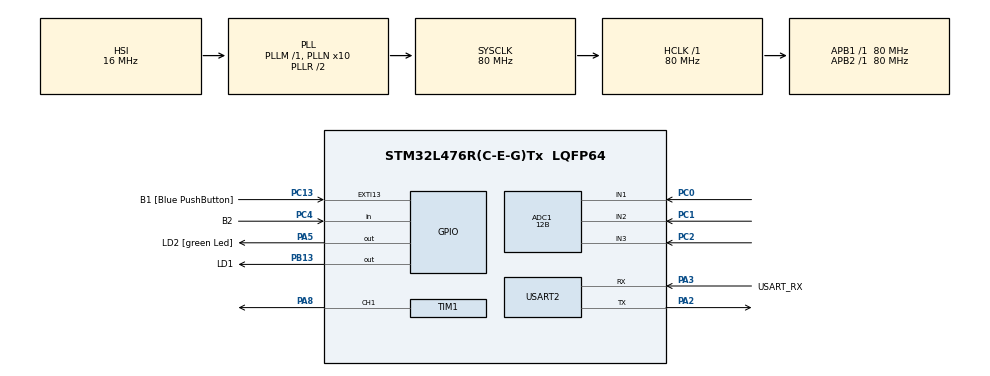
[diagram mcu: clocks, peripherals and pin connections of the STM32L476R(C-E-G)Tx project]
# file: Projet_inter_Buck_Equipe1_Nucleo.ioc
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ADC1.Channel-1\#ChannelRegularConversion=ADC_CHANNEL_1
ADC1.Channel-2\#ChannelRegularConversion=ADC_CHANNEL_2
ADC1.Channel-3\#ChannelRegularConversion=ADC_CHANNEL_3
ADC1.ClockPrescaler=ADC_CLOCK_ASYNC_DIV8
ADC1.ContinuousConvMode=DISABLE
ADC1.DMAContinuousRequests=ENABLE
ADC1.EOCSelection=ADC_EOC_SEQ_CONV
ADC1.ExternalTrigConv=ADC_EXTERNALTRIG_T2_TRGO
ADC1.NbrOfConversion=3
ADC1.NbrOfConversionFlag=1
ADC1.OffsetNumber-1\#ChannelRegularConversion=ADC_OFFSET_NONE
ADC1.OffsetNumber-2\#ChannelRegularConversion=ADC_OFFSET_NONE
ADC1.OffsetNumber-3\#ChannelRegularConversion=ADC_OFFSET_NONE
ADC1.Overrun=ADC_OVR_DATA_OVERWRITTEN
ADC1.Rank-1\#ChannelRegularConversion=1
ADC1.Rank-2\#ChannelRegularConversion=2
ADC1.Rank-3\#ChannelRegularConversion=3
ADC1.Resolution=ADC_RESOLUTION_12B
ADC1.SamplingTime-1\#ChannelRegularConversion=ADC_SAMPLETIME_92CYCLES_5
ADC1.SamplingTime-2\#ChannelRegularConversion=ADC_SAMPLETIME_92CYCLES_5
ADC1.SamplingTime-3\#ChannelRegularConversion=ADC_SAMPLETIME_92CYCLES_5
ADC1.master=1
Dma.ADC1.0.Direction=DMA_PERIPH_TO_MEMORY
Dma.ADC1.0.Instance=DMA1_Channel1
Dma.ADC1.0.MemDataAlignment=DMA_MDATAALIGN_WORD
Dma.ADC1.0.MemInc=DMA_MINC_ENABLE
Dma.ADC1.0.Mode=DMA_CIRCULAR
Dma.ADC1.0.PeriphDataAlignment=DMA_PDATAALIGN_WORD
Dma.ADC1.0.PeriphInc=DMA_PINC_DISABLE
Dma.ADC1.0.Priority=DMA_PRIORITY_LOW
Dma.Request0=ADC1
Mcu.Family=STM32L4
Mcu.Name=STM32L476R(C-E-G)Tx
Mcu.Package=LQFP64
NVIC.DMA1_Channel1_IRQn=true\:0\:0\:false\:false\:true\:false\:true
NVIC.PriorityGroup=NVIC_PRIORITYGROUP_4
NVIC.TIM2_IRQn=true\:2\:0\:true\:false\:true\:true\:true
PA13\ (JTMS-SWDIO).GPIO_Label=TMS
PA13\ (JTMS-SWDIO).Mode=Serial_Wire
PA13\ (JTMS-SWDIO).Signal=SYS_JTMS-SWDIO
PA14\ (JTCK-SWCLK).GPIO_Label=TCK
PA14\ (JTCK-SWCLK).Mode=Serial_Wire
PA14\ (JTCK-SWCLK).Signal=SYS_JTCK-SWCLK
PA2.Mode=Asynchronous
PA2.Signal=USART2_TX
PA3.GPIO_Label=USART_RX
PA3.GPIO_Mode=GPIO_MODE_AF_PP
PA3.GPIO_PuPd=GPIO_NOPULL
PA3.GPIO_Speed=GPIO_SPEED_FREQ_VERY_HIGH
PA3.Mode=Asynchronous
PA3.Signal=USART2_RX
PA5.GPIO_Label=LD2 [green Led]
PA5.GPIO_ModeDefaultOutputPP=GPIO_MODE_OUTPUT_PP
PA5.GPIO_PuPd=GPIO_NOPULL
PA5.GPIO_Speed=GPIO_SPEED_FREQ_LOW
PA5.Signal=GPIO_Output
PA8.Signal=S_TIM1_CH1
PB13.GPIO_Label=LD1
PB13.Signal=GPIO_Output
PB3\ (JTDO-TRACESWO).GPIO_Label=SWO
PB3\ (JTDO-TRACESWO).Signal=SYS_JTDO-SWO
PC0.Signal=ADCx_IN1
PC1.Signal=ADCx_IN2
PC13.GPIO_Label=B1 [Blue PushButton]
PC13.GPIO_ModeDefaultEXTI=GPIO_MODE_IT_FALLING
PC13.GPIO_PuPd=GPIO_NOPULL
PC13.Signal=GPXTI13
PC14-OSC32_IN\ (PC14).Signal=RCC_OSC32_IN
PC15-OSC32_OUT\ (PC15).Signal=RCC_OSC32_OUT
PC2.Signal=ADCx_IN3
PC4.GPIO_Label=B2
PC4.GPIO_PuPd=GPIO_PULLUP
PC4.Signal=GPIO_Input
PH0-OSC_IN\ (PH0).Mode=HSE-External-Oscillator
PH0-OSC_IN\ (PH0).Signal=RCC_OSC_IN
PH1-OSC_OUT\ (PH1).Mode=HSE-External-Oscillator
PH1-OSC_OUT\ (PH1).Signal=RCC_OSC_OUT
ProjectManager.HeapSize=0x200
ProjectManager.StackSize=0x400
ProjectManager.TargetToolchain=STM32CubeIDE
RCC.ADCFreq_Value=64000000
RCC.AHBFreq_Value=80000000
RCC.APB1Freq_Value=80000000
RCC.APB1TimFreq_Value=80000000
RCC.APB2Freq_Value=80000000
RCC.APB2TimFreq_Value=80000000
RCC.CortexFreq_Value=80000000
RCC.HCLKFreq_Value=80000000
RCC.HSE_VALUE=8000000
RCC.HSI_VALUE=16000000
RCC.LSE_VALUE=32768
RCC.MSI_VALUE=4000000
RCC.PLLN=10
RCC.PLLSourceVirtual=RCC_PLLSOURCE_HSI
RCC.PREFETCH_ENABLE=1
RCC.SYSCLKFreq_VALUE=80000000
RCC.SYSCLKSource=RCC_SYSCLKSOURCE_PLLCLK
RCC.USBFreq_Value=64000000
RCC.VCOOutputFreq_Value=160000000
SH.ADCx_IN1.0=ADC1_IN1,IN1-Single-Ended
SH.ADCx_IN2.0=ADC1_IN2,IN2-Single-Ended
SH.ADCx_IN3.0=ADC1_IN3,IN3-Single-Ended
SH.S_TIM1_CH1.0=TIM1_CH1,PWM Generation1 CH1
TIM1.Channel-PWM\ Generation1\ CH1=TIM_CHANNEL_1
TIM1.Prescaler=0
TIM2.AutoReloadPreload=TIM_AUTORELOAD_PRELOAD_DISABLE
TIM2.Period=999
TIM2.Prescaler=0
TIM2.TIM_MasterOutputTrigger=TIM_TRGO_UPDATE
TIM2.TIM_MasterSlaveMode=TIM_MASTERSLAVEMODE_ENABLE
USART2.VirtualMode-Asynchronous=VM_ASYNC
VP_TIM1_VS_ClockSourceINT.Mode=Internal
VP_TIM2_VS_ClockSourceINT.Mode=Internal
board=NUCLEO-L476RG

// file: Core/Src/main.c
/* USER CODE BEGIN Header */
/**
  ******************************************************************************
  * @file           : main.c
  * @brief          : Main program body
  ******************************************************************************
  * @attention
  *
  * <h2><center>&copy; Copyright (c) 2020 STMicroelectronics.
  * All rights reserved.</center></h2>
  *
  * This software component is licensed by ST under BSD 3-Clause license,
  * the "License"; You may not use this file except in compliance with the
  * License. You may obtain a copy of the License at:
  *                        opensource.org/licenses/BSD-3-Clause
  *
  ******************************************************************************
  */
/* USER CODE END Header */
#include "main.h"

/* USER CODE BEGIN PD */
#define F_PWM    150000UL // min : 1220 Hz max: 80 MHz
#define F_ACQ    7500UL // min : 0.018 Hz max: 80 MHz
#define KVOUTMON (6.2/(110.0+6.2))
<<<<<<< HEAD
#define KVINMON  (6.8/(100.0+6.8))
#define KIMON    (0.006*50.0)
=======
#define KVINMON  (6.2/(100.0+6.2))
#define KIMON    (0.006*51.0)
>>>>>>> 2348094a81acae2ed6a24b43f9213fbe63be2bc5
#define VCC      (3.3)

#define VOUT_MAX 48.0
#define VOUT_MIN 0.00
#define IOUT_MAX 10.0
#define IOUT_MIN 0.00
#define DUTY_MAX 80.0
#define DUTY_MIN 20.0

#define REG_MODE_CV   0
#define REG_MODE_CC   1
#define REG_MODE_MPPT 2
#define REG_MODE_OL   3

#define F_TIM1 80000000UL/F_PWM

/* Bloc Define Regulation  */

<<<<<<< HEAD
#define T_ACQ 1/7500 // Temps d'acquisition

#define KP_CC 1 // Valeur du coefficient proportionnel régulation CC
#define KI_CC 1 // Valeur du coefficient intégral régulation CC
#define KP_CV 250/2370 // Valeur du coefficient proportionnel régulation CV Valeur Matlab : 32,78
#define KI_CV 1 // Valeur du coefficient intégral régulation CV Valeur Matlab : 98,44
=======
#define KP_CC 1 			// Valeur du coefficient proportionnel régulation CC
#define KI_CC 1 			// Valeur du coefficient intégral régulation CC
#define KP_CV 250/2370 		// Valeur du coefficient proportionnel régulation CV
#define KI_CV 1 			// Valeur du coefficient intégral régulation CV
>>>>>>> 2348094a81acae2ed6a24b43f9213fbe63be2bc5

#define SAT_ERR_TOT 400 // Valeur pour la saturation de l'erreur totale

/* USER CODE END PD */

ADC_HandleTypeDef hadc1;
DMA_HandleTypeDef hdma_adc1;

TIM_HandleTypeDef htim1;
TIM_HandleTypeDef htim2;

UART_HandleTypeDef huart2;

/* USER CODE BEGIN PV */
<<<<<<< HEAD
int Duty_Cycle = 0;
int counter = 0;
int Value = 0;
int Vout_mon = 0;
int Vin_mon = 0;
int I_mon = 0;
int32_t Pin = 0;  //Regulation MPPT Puissance calculée en entrée
int32_t Pin_pre = 0; // Régulation MPPT Ancienne Puissance d'entrée
int32_t MPPT_Hystérésis = 0; //Pour la régulation MPPT
int MPPT_incrément = 0;
int Reg_Mode = 0;
int Vout_Ordered = 0;
int I_Ordered = 0;
=======
uint16_t Duty_Cycle = 0;	//Timer duty value, from 0 to F_TIM1
uint16_t Vout_mon = 0;		//Measured output voltage, from 0 to 4095
uint16_t Vin_mon = 0;		//Measured input  voltage, from 0 to 4095
uint16_t I_mon = 0;			//Measured output current, from 0 to 4095
>>>>>>> 2348094a81acae2ed6a24b43f9213fbe63be2bc5

uint16_t Pin = 0;   //Measured input power for MPPT regulation
uint16_t Pin_p = 0; //Previously measured input power for MPPT regulation
uint16_t I_inc = 0;	//

uint8_t Reg_Mode = REG_MODE_OL;
uint16_t Vout_set = 0;
uint16_t Iout_set = 0;

<<<<<<< HEAD
int Delta_Err = 0;  //Valeur de l'erreur entre la tension/courant souhaitée et la valeur lue
int Err_Pre = 0;  //Valeur de l'erreur précédente
int Duty_Pre = 0; //Valeur de duty cycle précédente
=======
uint32_t ADC_buffer[3] = {0};

int Delta_Err = 0;  	//Valeur de l'erreur entre la tension/courant souhaitée et la valeur lue
int Err_Tot = 0; 		//Pour la partie intégrale de la régulation
int Delta_Duty = 0; 	//Variation du duty après la correction proportionnelle, intégrale
>>>>>>> 2348094a81acae2ed6a24b43f9213fbe63be2bc5

/* USER CODE END PV */

void SystemClock_Config(void);
static void MX_GPIO_Init(void);
static void MX_DMA_Init(void);
static void MX_USART2_UART_Init(void);
static void MX_ADC1_Init(void);
static void MX_TIM1_Init(void);
static void MX_TIM2_Init(void);
/* USER CODE BEGIN PFP */

void Set_Duty_Cycle();
void SetVout(float target);
void SetI(float target);
void Set_Duty_OL(float target);

void RegulateCV(void);
void RegulateCC(void);
void RegulateMPPT(void);
void GetMeasurement(void);

/* USER CODE END PFP */

int main(void)
{

  /* MCU Configuration--------------------------------------------------------*/

  /* Reset of all peripherals, Initializes the Flash interface and the Systick. */
  HAL_Init();

  /* Configure the system clock */
  SystemClock_Config();

  /* Initialize all configured peripherals */
  MX_GPIO_Init();
  MX_DMA_Init();
  MX_USART2_UART_Init();
  MX_ADC1_Init();
  MX_TIM1_Init();
  MX_TIM2_Init();
  /* USER CODE BEGIN 2 */

  /* Bloc Initialisation ADC */
  HAL_ADC_Start_DMA(&hadc1,(uint32_t *)&ADC_buffer, 3);
  HAL_TIM_Base_Start_IT(&htim2);
  HAL_ADC_Start_IT(&hadc1);

  /* Bloc Initialisation PWM */
  HAL_TIM_PWM_Start(&htim1, TIM_CHANNEL_1);
  Reg_Mode = REG_MODE_CV;

  /* Initialiser une valeur */
  SetVout(24.0);
  //SetI(5.0);
  //Set_Duty_Cycle(0.25*htim1.Init.Period);

  /* USER CODE END 2 */

  /* Infinite loop */
  while (1)
  {

  }
}

void SystemClock_Config(void)
{
  RCC_OscInitTypeDef RCC_OscInitStruct = {0};
  RCC_ClkInitTypeDef RCC_ClkInitStruct = {0};
  RCC_PeriphCLKInitTypeDef PeriphClkInit = {0};

  /** Initializes the RCC Oscillators according to the specified parameters
  * in the RCC_OscInitTypeDef structure.
  */
  RCC_OscInitStruct.OscillatorType = RCC_OSCILLATORTYPE_HSI;
  RCC_OscInitStruct.HSIState = RCC_HSI_ON;
  RCC_OscInitStruct.HSICalibrationValue = RCC_HSICALIBRATION_DEFAULT;
  RCC_OscInitStruct.PLL.PLLState = RCC_PLL_ON;
  RCC_OscInitStruct.PLL.PLLSource = RCC_PLLSOURCE_HSI;
  RCC_OscInitStruct.PLL.PLLM = 1;
  RCC_OscInitStruct.PLL.PLLN = 10;
  RCC_OscInitStruct.PLL.PLLP = RCC_PLLP_DIV7;
  RCC_OscInitStruct.PLL.PLLQ = RCC_PLLQ_DIV2;
  RCC_OscInitStruct.PLL.PLLR = RCC_PLLR_DIV2;
  if (HAL_RCC_OscConfig(&RCC_OscInitStruct) != HAL_OK)
  {
    Error_Handler();
  }
  /** Initializes the CPU, AHB and APB buses clocks
  */
  RCC_ClkInitStruct.ClockType = RCC_CLOCKTYPE_HCLK|RCC_CLOCKTYPE_SYSCLK
                              |RCC_CLOCKTYPE_PCLK1|RCC_CLOCKTYPE_PCLK2;
  RCC_ClkInitStruct.SYSCLKSource = RCC_SYSCLKSOURCE_PLLCLK;
  RCC_ClkInitStruct.AHBCLKDivider = RCC_SYSCLK_DIV1;
  RCC_ClkInitStruct.APB1CLKDivider = RCC_HCLK_DIV1;
  RCC_ClkInitStruct.APB2CLKDivider = RCC_HCLK_DIV1;

  if (HAL_RCC_ClockConfig(&RCC_ClkInitStruct, FLASH_LATENCY_4) != HAL_OK)
  {
    Error_Handler();
  }
  PeriphClkInit.PeriphClockSelection = RCC_PERIPHCLK_USART2|RCC_PERIPHCLK_ADC;
  PeriphClkInit.Usart2ClockSelection = RCC_USART2CLKSOURCE_PCLK1;
  PeriphClkInit.AdcClockSelection = RCC_ADCCLKSOURCE_PLLSAI1;
  PeriphClkInit.PLLSAI1.PLLSAI1Source = RCC_PLLSOURCE_HSI;
  PeriphClkInit.PLLSAI1.PLLSAI1M = 1;
  PeriphClkInit.PLLSAI1.PLLSAI1N = 8;
  PeriphClkInit.PLLSAI1.PLLSAI1P = RCC_PLLP_DIV7;
  PeriphClkInit.PLLSAI1.PLLSAI1Q = RCC_PLLQ_DIV2;
  PeriphClkInit.PLLSAI1.PLLSAI1R = RCC_PLLR_DIV2;
  PeriphClkInit.PLLSAI1.PLLSAI1ClockOut = RCC_PLLSAI1_ADC1CLK;
  if (HAL_RCCEx_PeriphCLKConfig(&PeriphClkInit) != HAL_OK)
  {
    Error_Handler();
  }
  /** Configure the main internal regulator output voltage
  */
  if (HAL_PWREx_ControlVoltageScaling(PWR_REGULATOR_VOLTAGE_SCALE1) != HAL_OK)
  {
    Error_Handler();
  }
}

static void MX_ADC1_Init(void)
{

  ADC_MultiModeTypeDef multimode = {0};
  ADC_ChannelConfTypeDef sConfig = {0};

  /** Common config
  */
  hadc1.Instance = ADC1;
  hadc1.Init.ClockPrescaler = ADC_CLOCK_ASYNC_DIV8;
  hadc1.Init.Resolution = ADC_RESOLUTION_12B;
  hadc1.Init.DataAlign = ADC_DATAALIGN_RIGHT;
  hadc1.Init.ScanConvMode = ADC_SCAN_ENABLE;
  hadc1.Init.EOCSelection = ADC_EOC_SEQ_CONV;
  hadc1.Init.LowPowerAutoWait = DISABLE;
  hadc1.Init.ContinuousConvMode = DISABLE;
  hadc1.Init.NbrOfConversion = 3;
  hadc1.Init.DiscontinuousConvMode = DISABLE;
  hadc1.Init.ExternalTrigConv = ADC_EXTERNALTRIG_T2_TRGO;
  hadc1.Init.ExternalTrigConvEdge = ADC_EXTERNALTRIGCONVEDGE_RISING;
  hadc1.Init.DMAContinuousRequests = ENABLE;
  hadc1.Init.Overrun = ADC_OVR_DATA_OVERWRITTEN;
  hadc1.Init.OversamplingMode = DISABLE;
  if (HAL_ADC_Init(&hadc1) != HAL_OK)
  {
    Error_Handler();
  }
  /** Configure the ADC multi-mode
  */
  multimode.Mode = ADC_MODE_INDEPENDENT;
  if (HAL_ADCEx_MultiModeConfigChannel(&hadc1, &multimode) != HAL_OK)
  {
    Error_Handler();
  }
  /** Configure Regular Channel
  */
  sConfig.Channel = ADC_CHANNEL_1;
  sConfig.Rank = ADC_REGULAR_RANK_1;
  sConfig.SamplingTime = ADC_SAMPLETIME_92CYCLES_5;
  sConfig.SingleDiff = ADC_SINGLE_ENDED;
  sConfig.OffsetNumber = ADC_OFFSET_NONE;
  sConfig.Offset = 0;
  if (HAL_ADC_ConfigChannel(&hadc1, &sConfig) != HAL_OK)
  {
    Error_Handler();
  }
  /** Configure Regular Channel
  */
  sConfig.Channel = ADC_CHANNEL_2;
  sConfig.Rank = ADC_REGULAR_RANK_2;
  if (HAL_ADC_ConfigChannel(&hadc1, &sConfig) != HAL_OK)
  {
    Error_Handler();
  }
  /** Configure Regular Channel
  */
  sConfig.Channel = ADC_CHANNEL_3;
  sConfig.Rank = ADC_REGULAR_RANK_3;
  if (HAL_ADC_ConfigChannel(&hadc1, &sConfig) != HAL_OK)
  {
    Error_Handler();
  }

}

static void MX_TIM1_Init(void)
{

  TIM_ClockConfigTypeDef sClockSourceConfig = {0};
  TIM_MasterConfigTypeDef sMasterConfig = {0};
  TIM_OC_InitTypeDef sConfigOC = {0};
  TIM_BreakDeadTimeConfigTypeDef sBreakDeadTimeConfig = {0};

  /* USER CODE BEGIN TIM1_Init 1 */
  htim1.Init.Period = 80000000UL/F_PWM;

  /* USER CODE END TIM1_Init 1 */
  htim1.Instance = TIM1;
  htim1.Init.Prescaler = 0;
  htim1.Init.CounterMode = TIM_COUNTERMODE_UP;
  //htim1.Init.Period = 65535;
  htim1.Init.ClockDivision = TIM_CLOCKDIVISION_DIV1;
  htim1.Init.RepetitionCounter = 0;
  htim1.Init.AutoReloadPreload = TIM_AUTORELOAD_PRELOAD_DISABLE;
  if (HAL_TIM_Base_Init(&htim1) != HAL_OK)
  {
    Error_Handler();
  }
  sClockSourceConfig.ClockSource = TIM_CLOCKSOURCE_INTERNAL;
  if (HAL_TIM_ConfigClockSource(&htim1, &sClockSourceConfig) != HAL_OK)
  {
    Error_Handler();
  }
  if (HAL_TIM_PWM_Init(&htim1) != HAL_OK)
  {
    Error_Handler();
  }
  sMasterConfig.MasterOutputTrigger = TIM_TRGO_RESET;
  sMasterConfig.MasterOutputTrigger2 = TIM_TRGO2_RESET;
  sMasterConfig.MasterSlaveMode = TIM_MASTERSLAVEMODE_DISABLE;
  if (HAL_TIMEx_MasterConfigSynchronization(&htim1, &sMasterConfig) != HAL_OK)
  {
    Error_Handler();
  }
  sConfigOC.OCMode = TIM_OCMODE_PWM1;
  sConfigOC.Pulse = 0;
  sConfigOC.OCPolarity = TIM_OCPOLARITY_HIGH;
  sConfigOC.OCNPolarity = TIM_OCNPOLARITY_HIGH;
  sConfigOC.OCFastMode = TIM_OCFAST_DISABLE;
  sConfigOC.OCIdleState = TIM_OCIDLESTATE_RESET;
  sConfigOC.OCNIdleState = TIM_OCNIDLESTATE_RESET;
  if (HAL_TIM_PWM_ConfigChannel(&htim1, &sConfigOC, TIM_CHANNEL_1) != HAL_OK)
  {
    Error_Handler();
  }
  sBreakDeadTimeConfig.OffStateRunMode = TIM_OSSR_DISABLE;
  sBreakDeadTimeConfig.OffStateIDLEMode = TIM_OSSI_DISABLE;
  sBreakDeadTimeConfig.LockLevel = TIM_LOCKLEVEL_OFF;
  sBreakDeadTimeConfig.DeadTime = 0;
  sBreakDeadTimeConfig.BreakState = TIM_BREAK_DISABLE;
  sBreakDeadTimeConfig.BreakPolarity = TIM_BREAKPOLARITY_HIGH;
  sBreakDeadTimeConfig.BreakFilter = 0;
  sBreakDeadTimeConfig.Break2State = TIM_BREAK2_DISABLE;
  sBreakDeadTimeConfig.Break2Polarity = TIM_BREAK2POLARITY_HIGH;
  sBreakDeadTimeConfig.Break2Filter = 0;
  sBreakDeadTimeConfig.AutomaticOutput = TIM_AUTOMATICOUTPUT_DISABLE;
  if (HAL_TIMEx_ConfigBreakDeadTime(&htim1, &sBreakDeadTimeConfig) != HAL_OK)
  {
    Error_Handler();
  }
  HAL_TIM_MspPostInit(&htim1);

}

static void MX_TIM2_Init(void)
{

  TIM_ClockConfigTypeDef sClockSourceConfig = {0};
  TIM_MasterConfigTypeDef sMasterConfig = {0};

  /* USER CODE BEGIN TIM2_Init 1 */
  htim2.Init.Period = 80000000UL/(F_ACQ);
  /* USER CODE END TIM2_Init 1 */
  htim2.Instance = TIM2;
  htim2.Init.Prescaler = 0;
  htim2.Init.CounterMode = TIM_COUNTERMODE_UP;
  //htim2.Init.Period = 999;
  htim2.Init.ClockDivision = TIM_CLOCKDIVISION_DIV1;
  htim2.Init.AutoReloadPreload = TIM_AUTORELOAD_PRELOAD_DISABLE;
  if (HAL_TIM_Base_Init(&htim2) != HAL_OK)
  {
    Error_Handler();
  }
  sClockSourceConfig.ClockSource = TIM_CLOCKSOURCE_INTERNAL;
  if (HAL_TIM_ConfigClockSource(&htim2, &sClockSourceConfig) != HAL_OK)
  {
    Error_Handler();
  }
  sMasterConfig.MasterOutputTrigger = TIM_TRGO_UPDATE;
  sMasterConfig.MasterSlaveMode = TIM_MASTERSLAVEMODE_ENABLE;
  if (HAL_TIMEx_MasterConfigSynchronization(&htim2, &sMasterConfig) != HAL_OK)
  {
    Error_Handler();
  }

}

static void MX_USART2_UART_Init(void)
{

  huart2.Instance = USART2;
  huart2.Init.BaudRate = 115200;
  huart2.Init.WordLength = UART_WORDLENGTH_8B;
  huart2.Init.StopBits = UART_STOPBITS_1;
  huart2.Init.Parity = UART_PARITY_EVEN;
  huart2.Init.Mode = UART_MODE_TX_RX;
  huart2.Init.HwFlowCtl = UART_HWCONTROL_NONE;
  huart2.Init.OverSampling = UART_OVERSAMPLING_16;
  huart2.Init.OneBitSampling = UART_ONE_BIT_SAMPLE_DISABLE;
  huart2.AdvancedInit.AdvFeatureInit = UART_ADVFEATURE_NO_INIT;
  if (HAL_UART_Init(&huart2) != HAL_OK)
  {
    Error_Handler();
  }

}

static void MX_DMA_Init(void)
{

  /* DMA controller clock enable */
  __HAL_RCC_DMA1_CLK_ENABLE();

  /* DMA interrupt init */
  /* DMA1_Channel1_IRQn interrupt configuration */
  HAL_NVIC_SetPriority(DMA1_Channel1_IRQn, 0, 0);
  HAL_NVIC_EnableIRQ(DMA1_Channel1_IRQn);

}

static void MX_GPIO_Init(void)
{
  GPIO_InitTypeDef GPIO_InitStruct = {0};

  /* GPIO Ports Clock Enable */
  __HAL_RCC_GPIOC_CLK_ENABLE();
  __HAL_RCC_GPIOH_CLK_ENABLE();
  __HAL_RCC_GPIOA_CLK_ENABLE();
  __HAL_RCC_GPIOB_CLK_ENABLE();

  /*Configure GPIO pin Output Level */
  HAL_GPIO_WritePin(LD2_GPIO_Port, LD2_Pin, GPIO_PIN_RESET);

  /*Configure GPIO pin : B1_Pin */
  GPIO_InitStruct.Pin = B1_Pin;
  GPIO_InitStruct.Mode = GPIO_MODE_IT_FALLING;
  GPIO_InitStruct.Pull = GPIO_NOPULL;
  HAL_GPIO_Init(B1_GPIO_Port, &GPIO_InitStruct);

  /*Configure GPIO pin : LD2_Pin */
  GPIO_InitStruct.Pin = LD2_Pin;
  GPIO_InitStruct.Mode = GPIO_MODE_OUTPUT_PP;
  GPIO_InitStruct.Pull = GPIO_NOPULL;
  GPIO_InitStruct.Speed = GPIO_SPEED_FREQ_LOW;
  HAL_GPIO_Init(LD2_GPIO_Port, &GPIO_InitStruct);

}

/* USER CODE BEGIN 4 */

void Set_Duty_Cycle(){

<<<<<<< HEAD
	if (Duty_Cycle>((F_TIM1-1)*0.9))
	{
		Duty_Cycle= (F_TIM1 -1)*0.9;
	} else if (Duty_Cycle<(F_TIM1*0.1))
	{
		Duty_Cycle=0.1*F_TIM1;
=======
	if (Duty_Cycle>F_TIM1*DUTY_MAX){
		Duty_Cycle= F_TIM1*DUTY_MAX;
	} else if (Duty_Cycle<F_TIM1*DUTY_MIN)	{
		Duty_Cycle=F_TIM1*DUTY_MIN;
>>>>>>> 2348094a81acae2ed6a24b43f9213fbe63be2bc5
	}
	__HAL_TIM_SET_COMPARE(&htim1,TIM_CHANNEL_1,Duty_Cycle);
}

void HAL_TIM_PeriodElapsedCallback(TIM_HandleTypeDef *htim)
{

}

void HAL_ADC_ConvCpltCallback(ADC_HandleTypeDef* hadc)
{
	HAL_GPIO_TogglePin(LD2_GPIO_Port, LD2_Pin);
	Vout_mon = ADC_buffer[0];
	Vin_mon = ADC_buffer[1];
	I_mon = ADC_buffer[2];
	if(Reg_Mode == REG_MODE_CV)
	{
		RegulateCV();
	}

	/*if(Reg_Mode == REG_MODE_CC)
	{
		RegulateCC();
	}
	if(Reg_Mode == REG_MODE_MPPT)
	{
		RegulateMPPT();
	}*/

}

void SetVout(float target){
	if(target>VOUT_MAX)target=VOUT_MAX;
	if(target<VOUT_MIN)target=VOUT_MIN;
	Vout_set = (target)*(KVOUTMON*4096.0)/VCC;
}

void SetI(float target){
	if(target>IOUT_MAX)target=IOUT_MAX;
	if(target<IOUT_MIN)target=IOUT_MIN;
	Iout_set = (target)*(KIMON*4096.0)/VCC;
}

void Set_Duty_OL(float target){
	if(target>DUTY_MAX)target=DUTY_MAX;
	if(target<DUTY_MIN)target=DUTY_MIN;
	Duty_Cycle=(target)*F_TIM1;
}

<<<<<<< HEAD
void RegulateCV(void)
{

	Delta_Err = Vout_Ordered - Vout_mon;

	Duty_Cycle = Duty_Pre + KP_CV * Delta_Err - KP_CV * Err_Pre + KI_CV * T_ACQ * Err_Pre;

	Set_Duty_Cycle();
	Duty_Pre = Duty_Cycle;
	Err_pre = Delta_Err;
	/*Delta_Err = Vout_Ordered - Vout_mon;
	Err_Tot += Delta_Err;
=======
void RegulateCV(void){
	Delta_Err = Vout_set - Vout_mon;
	/*Err_Tot += Delta_Err;
>>>>>>> 2348094a81acae2ed6a24b43f9213fbe63be2bc5

	if (Err_Tot > SAT_ERR_TOT){
		Err_Tot = SAT_ERR_TOT;
	}else if (Err_Tot < -(SAT_ERR_TOT)){
		Err_Tot = -SAT_ERR_TOT;
	}*/

	Delta_Duty = (Delta_Err *KP_CV) ;//+ (Err_Tot *KP_CV/10 );
	Duty_Cycle += Delta_Duty;

	Set_Duty_Cycle();*/

	/*if (Vout_mon<Vout_Ordered)
	{
		Duty_Cycle++;
	} else if(Vout_mon>Vout_Ordered)
	{
		Duty_Cycle--;
	}
	Set_Duty_Cycle();*/
}

void RegulateCC(void){
	Delta_Err = Iout_set - I_mon;
	Err_Tot += Delta_Err;

	if (Err_Tot > SAT_ERR_TOT)
	{
		Err_Tot = SAT_ERR_TOT;
	}
	if (Err_Tot < -(SAT_ERR_TOT))
	{
		Err_Tot = -SAT_ERR_TOT;
	}

	Delta_Duty = (Delta_Err *KP_CC) + (Err_Tot * KI_CC);
	Duty_Cycle += Delta_Duty;

	Set_Duty_Cycle();

	/*if (I_mon<I_Ordered)
	{
		Duty_Cycle++;
	} else if (I_mon>I_Ordered)
	{
		Duty_Cycle--;
	}
	Set_Duty_Cycle();*/
}

void RegulateMPPT(void)
{

	Pin = I_mon*Vin_mon;
	MPPT_Hystérésis = 55100;
	if (Pin < Pin_pre-MPPT_Hystérésis)
	{
		I_inc = -1;
	}
	else
	{
		I_inc = 1;
	}
	Pin_pre = Pin;
	I_Ordered = I_Ordered + 0.25*I_inc;
	SetI(I_Ordered);
}

/* USER CODE END 4 */

void Error_Handler(void)
{
}

/************************ (C) COPYRIGHT STMicroelectronics *****END OF FILE****/
